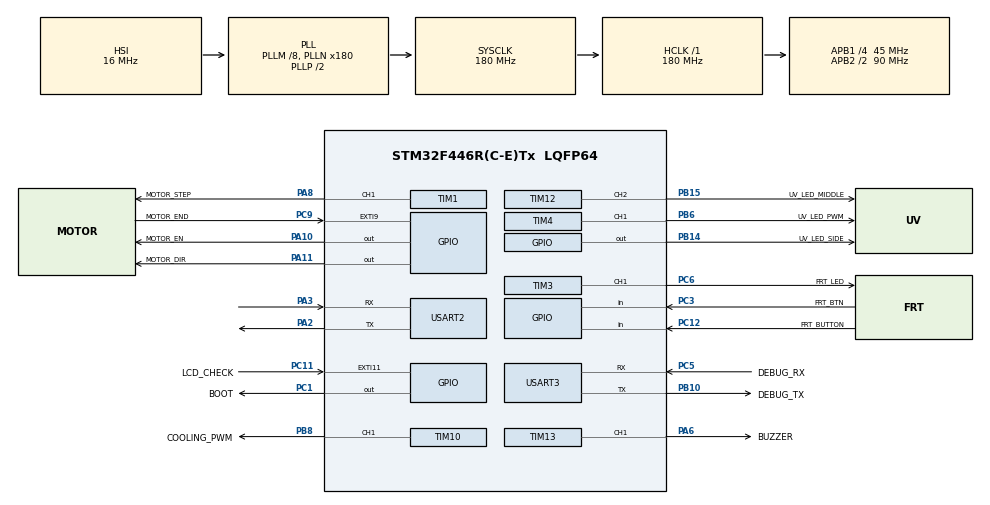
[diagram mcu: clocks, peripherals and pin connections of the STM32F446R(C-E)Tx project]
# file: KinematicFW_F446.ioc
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Dma.Request0=USART2_RX
Dma.Request1=TIM3_CH1/TRIG
Dma.TIM3_CH1/TRIG.1.Direction=DMA_MEMORY_TO_PERIPH
Dma.TIM3_CH1/TRIG.1.FIFOMode=DMA_FIFOMODE_DISABLE
Dma.TIM3_CH1/TRIG.1.Instance=DMA1_Stream4
Dma.TIM3_CH1/TRIG.1.MemDataAlignment=DMA_MDATAALIGN_WORD
Dma.TIM3_CH1/TRIG.1.MemInc=DMA_MINC_ENABLE
Dma.TIM3_CH1/TRIG.1.Mode=DMA_NORMAL
Dma.TIM3_CH1/TRIG.1.PeriphDataAlignment=DMA_PDATAALIGN_WORD
Dma.TIM3_CH1/TRIG.1.PeriphInc=DMA_PINC_DISABLE
Dma.TIM3_CH1/TRIG.1.Priority=DMA_PRIORITY_LOW
Dma.USART2_RX.0.Direction=DMA_PERIPH_TO_MEMORY
Dma.USART2_RX.0.FIFOMode=DMA_FIFOMODE_DISABLE
Dma.USART2_RX.0.Instance=DMA1_Stream5
Dma.USART2_RX.0.MemDataAlignment=DMA_MDATAALIGN_BYTE
Dma.USART2_RX.0.MemInc=DMA_MINC_ENABLE
Dma.USART2_RX.0.Mode=DMA_CIRCULAR
Dma.USART2_RX.0.PeriphDataAlignment=DMA_PDATAALIGN_BYTE
Dma.USART2_RX.0.PeriphInc=DMA_PINC_DISABLE
Dma.USART2_RX.0.Priority=DMA_PRIORITY_LOW
Mcu.Family=STM32F4
Mcu.Name=STM32F446R(C-E)Tx
Mcu.Package=LQFP64
NVIC.DMA1_Stream4_IRQn=true\:0\:0\:false\:false\:true\:false\:true
NVIC.DMA1_Stream5_IRQn=true\:0\:0\:false\:false\:true\:false\:true
NVIC.EXTI15_10_IRQn=true\:0\:0\:false\:false\:true\:true\:true
NVIC.EXTI9_5_IRQn=true\:0\:0\:false\:false\:true\:true\:true
NVIC.PriorityGroup=NVIC_PRIORITYGROUP_0
NVIC.TIM1_BRK_TIM9_IRQn=true\:0\:0\:false\:false\:true\:true\:true
NVIC.TIM1_CC_IRQn=true\:0\:0\:false\:false\:true\:true\:true
NVIC.TIM1_TRG_COM_TIM11_IRQn=true\:0\:0\:false\:false\:true\:true\:true
NVIC.TIM1_UP_TIM10_IRQn=true\:0\:0\:false\:false\:true\:true\:true
NVIC.TIM3_IRQn=true\:0\:0\:false\:false\:true\:true\:true
NVIC.TIM4_IRQn=true\:0\:0\:false\:false\:true\:true\:true
NVIC.TIM6_DAC_IRQn=true\:0\:0\:false\:false\:true\:true\:true
NVIC.TIM7_IRQn=true\:0\:0\:false\:false\:true\:true\:true
NVIC.TIM8_BRK_TIM12_IRQn=true\:0\:0\:false\:false\:true\:true\:true
NVIC.TIM8_TRG_COM_TIM14_IRQn=true\:0\:0\:false\:false\:true\:true\:true
NVIC.TIM8_UP_TIM13_IRQn=true\:0\:0\:false\:false\:true\:true\:true
NVIC.USART2_IRQn=true\:0\:0\:false\:false\:true\:true\:true
NVIC.USART3_IRQn=true\:0\:0\:false\:false\:true\:true\:true
PA10.GPIO_Label=MOTOR_EN
PA10.GPIO_ModeDefaultOutputPP=GPIO_MODE_OUTPUT_PP
PA10.GPIO_PuPd=GPIO_NOPULL
PA10.GPIO_Speed=GPIO_SPEED_FREQ_LOW
PA10.PinState=GPIO_PIN_RESET
PA10.Signal=GPIO_Output
PA11.GPIO_Label=MOTOR_DIR
PA11.GPIO_ModeDefaultOutputPP=GPIO_MODE_OUTPUT_PP
PA11.GPIO_PuPd=GPIO_NOPULL
PA11.GPIO_Speed=GPIO_SPEED_FREQ_LOW
PA11.PinState=GPIO_PIN_RESET
PA11.Signal=GPIO_Output
PA13.Mode=Serial_Wire
PA13.Signal=SYS_JTMS-SWDIO
PA14.Mode=Serial_Wire
PA14.Signal=SYS_JTCK-SWCLK
PA2.GPIO_Mode=GPIO_MODE_AF_PP
PA2.GPIO_PuPd=GPIO_PULLUP
PA2.GPIO_Speed=GPIO_SPEED_FREQ_VERY_HIGH
PA2.Mode=Asynchronous
PA2.Signal=USART2_TX
PA3.GPIO_Mode=GPIO_MODE_AF_PP
PA3.GPIO_PuPd=GPIO_PULLUP
PA3.GPIO_Speed=GPIO_SPEED_FREQ_VERY_HIGH
PA3.Mode=Asynchronous
PA3.Signal=USART2_RX
PA6.GPIO_Label=BUZZER
PA6.GPIO_ModeDefaultPP=GPIO_MODE_AF_PP
PA6.GPIO_PuPd=GPIO_NOPULL
PA6.GPIO_Speed=GPIO_SPEED_FREQ_LOW
PA6.Signal=S_TIM13_CH1
PA8.GPIO_Label=MOTOR_STEP
PA8.GPIO_ModeDefaultPP=GPIO_MODE_AF_PP
PA8.GPIO_PuPd=GPIO_NOPULL
PA8.GPIO_Speed=GPIO_SPEED_FREQ_LOW
PA8.Signal=S_TIM1_CH1
PB10.GPIO_Label=DEBUG_TX
PB10.GPIO_Mode=GPIO_MODE_AF_PP
PB10.GPIO_PuPd=GPIO_PULLUP
PB10.GPIO_Speed=GPIO_SPEED_FREQ_VERY_HIGH
PB10.Mode=Asynchronous
PB10.Signal=USART3_TX
PB14.GPIO_Label=UV_LED_SIDE
PB14.GPIO_ModeDefaultOutputPP=GPIO_MODE_OUTPUT_PP
PB14.GPIO_PuPd=GPIO_NOPULL
PB14.GPIO_Speed=GPIO_SPEED_FREQ_LOW
PB14.PinState=GPIO_PIN_RESET
PB14.Signal=GPIO_Output
PB15.GPIO_Label=UV_LED_MIDDLE
PB15.Signal=S_TIM12_CH2
PB3.Signal=SYS_JTDO-SWO
PB6.GPIO_Label=UV_LED_PWM
PB6.GPIO_ModeDefaultPP=GPIO_MODE_AF_PP
PB6.GPIO_PuPd=GPIO_NOPULL
PB6.GPIO_Speed=GPIO_SPEED_FREQ_LOW
PB6.Signal=S_TIM4_CH1
PB8.GPIO_Label=COOLING_PWM
PB8.GPIO_ModeDefaultPP=GPIO_MODE_AF_PP
PB8.GPIO_PuPd=GPIO_NOPULL
PB8.GPIO_Speed=GPIO_SPEED_FREQ_LOW
PB8.Signal=S_TIM10_CH1
PC1.GPIO_Label=BOOT
PC1.GPIO_ModeDefaultOutputPP=GPIO_MODE_OUTPUT_PP
PC1.GPIO_PuPd=GPIO_NOPULL
PC1.GPIO_Speed=GPIO_SPEED_FREQ_LOW
PC1.PinState=GPIO_PIN_RESET
PC1.Signal=GPIO_Output
PC11.GPIO_Label=LCD_CHECK
PC11.GPIO_ModeDefaultEXTI=GPIO_MODE_IT_RISING_FALLING
PC11.Signal=GPXTI11
PC12.GPIO_Label=FRT_BUTTON
PC12.GPIO_PuPd=GPIO_NOPULL
PC12.Signal=GPIO_Input
PC14-OSC32_IN.Mode=LSE-External-Oscillator
PC14-OSC32_IN.Signal=RCC_OSC32_IN
PC15-OSC32_OUT.Mode=LSE-External-Oscillator
PC15-OSC32_OUT.Signal=RCC_OSC32_OUT
PC3.GPIO_Label=FRT_BTN
PC3.GPIO_Mode=GPIO_MODE_INPUT
PC3.GPIO_PuPd=GPIO_NOPULL
PC3.Signal=GPIO_Input
PC5.GPIO_Label=DEBUG_RX
PC5.GPIO_Mode=GPIO_MODE_AF_PP
PC5.GPIO_PuPd=GPIO_PULLUP
PC5.GPIO_Speed=GPIO_SPEED_FREQ_VERY_HIGH
PC5.Mode=Asynchronous
PC5.Signal=USART3_RX
PC6.GPIO_Label=FRT_LED
PC6.GPIO_ModeDefaultPP=GPIO_MODE_AF_PP
PC6.GPIO_PuPd=GPIO_NOPULL
PC6.GPIO_Speed=GPIO_SPEED_FREQ_LOW
PC6.Signal=S_TIM3_CH1
PC9.GPIO_Label=MOTOR_END
PC9.GPIO_ModeDefaultEXTI=GPIO_MODE_IT_FALLING
PC9.GPIO_PuPd=GPIO_NOPULL
PC9.Signal=GPXTI9
PH0-OSC_IN.Mode=HSE-External-Oscillator
PH0-OSC_IN.Signal=RCC_OSC_IN
PH1-OSC_OUT.Mode=HSE-External-Oscillator
PH1-OSC_OUT.Signal=RCC_OSC_OUT
ProjectManager.HeapSize=0x200
ProjectManager.StackSize=0x400
ProjectManager.TargetToolchain=TrueSTUDIO
RCC.48MHZClocksFreq_Value=84000000
RCC.AHBFreq_Value=180000000
RCC.APB1CLKDivider=RCC_HCLK_DIV4
RCC.APB1Freq_Value=45000000
RCC.APB1TimFreq_Value=90000000
RCC.APB2CLKDivider=RCC_HCLK_DIV2
RCC.APB2Freq_Value=90000000
RCC.APB2TimFreq_Value=180000000
RCC.CortexFreq_Value=180000000
RCC.FLatency-AdvancedSettings=FLASH_LATENCY_5
RCC.HCLKFreq_Value=180000000
RCC.HSE_VALUE=8000000
RCC.HSI_VALUE=16000000
RCC.PLLM=8
RCC.PLLN=180
RCC.SYSCLKFreq_VALUE=180000000
RCC.SYSCLKSource=RCC_SYSCLKSOURCE_PLLCLK
RCC.USBFreq_Value=180000000
RCC.VCOOutputFreq_Value=360000000
SH.S_TIM10_CH1.0=TIM10_CH1,PWM Generation1 CH1
SH.S_TIM12_CH2.0=TIM12_CH2,PWM Generation2 CH2
SH.S_TIM13_CH1.0=TIM13_CH1,PWM Generation1 CH1
SH.S_TIM1_CH1.0=TIM1_CH1,PWM Generation1 CH1
SH.S_TIM3_CH1.0=TIM3_CH1,PWM Generation1 CH1
SH.S_TIM4_CH1.0=TIM4_CH1,PWM Generation1 CH1
TIM1.Channel-PWM\ Generation1\ CH1=TIM_CHANNEL_1
TIM1.Prescaler=1023
TIM10.Channel=TIM_CHANNEL_1
TIM10.Period=1000
TIM10.Prescaler=45
TIM10.Pulse=1000
TIM11.Period=90-1
TIM11.Prescaler=10000-1
TIM12.Channel-PWM\ Generation2\ CH2=TIM_CHANNEL_2
TIM12.Period=1000 - 1
TIM12.Prescaler=45 - 1
TIM12.Pulse-PWM\ Generation2\ CH2=0
TIM13.Channel=TIM_CHANNEL_1
TIM13.Period=10
TIM13.Prescaler=900 - 1
TIM13.Pulse=5
TIM14.Period=1000
TIM14.Prescaler=9000
TIM3.Channel-PWM\ Generation1\ CH1=TIM_CHANNEL_1
TIM3.Period=112
TIM3.Prescaler=0
TIM3.Pulse-PWM\ Generation1\ CH1=0
TIM4.Channel-PWM\ Generation1\ CH1=TIM_CHANNEL_1
TIM4.Period=100
TIM4.Prescaler=18000
TIM6.Period=360-1
TIM6.Prescaler=10000 - 1
TIM7.Period=15 - 1
TIM7.Prescaler=6000 - 1
USART2.VirtualMode=VM_ASYNC
USART3.VirtualMode=VM_ASYNC
VP_TIM10_VS_ClockSourceINT.Mode=Enable_Timer
VP_TIM11_VS_ClockSourceINT.Mode=Enable_Timer
VP_TIM13_VS_ClockSourceINT.Mode=Enable_Timer
VP_TIM14_VS_ClockSourceINT.Mode=Enable_Timer
VP_TIM3_VS_ClockSourceINT.Mode=Internal
VP_TIM6_VS_ClockSourceINT.Mode=Enable_Timer
VP_TIM7_VS_ClockSourceINT.Mode=Enable_Timer
board=NUCLEO-F446RE

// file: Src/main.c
/* USER CODE BEGIN Header */
/**
  ******************************************************************************
  * @file           : main.c
  * @brief          : Main program body
  ******************************************************************************
  ** This notice applies to any and all portions of this file
  * that are not between comment pairs USER CODE BEGIN and
  * USER CODE END. Other portions of this file, whether
  * inserted by the user or by software development tools
  * are owned by their respective copyright owners.
  *
  * COPYRIGHT(c) 2019 STMicroelectronics
  *
  * Redistribution and use in source and binary forms, with or without modification,
  * are permitted provided that the following conditions are met:
  *   1. Redistributions of source code must retain the above copyright notice,
  *      this list of conditions and the following disclaimer.
  *   2. Redistributions in binary form must reproduce the above copyright notice,
  *      this list of conditions and the following disclaimer in the documentation
  *      and/or other materials provided with the distribution.
  *   3. Neither the name of STMicroelectronics nor the names of its contributors
  *      may be used to endorse or promote products derived from this software
  *      without specific prior written permission.
  *
  * THIS SOFTWARE IS PROVIDED BY THE COPYRIGHT HOLDERS AND CONTRIBUTORS "AS IS"
  * AND ANY EXPRESS OR IMPLIED WARRANTIES, INCLUDING, BUT NOT LIMITED TO, THE
  * IMPLIED WARRANTIES OF MERCHANTABILITY AND FITNESS FOR A PARTICULAR PURPOSE ARE
  * DISCLAIMED. IN NO EVENT SHALL THE COPYRIGHT HOLDER OR CONTRIBUTORS BE LIABLE
  * FOR ANY DIRECT, INDIRECT, INCIDENTAL, SPECIAL, EXEMPLARY, OR CONSEQUENTIAL
  * DAMAGES (INCLUDING, BUT NOT LIMITED TO, PROCUREMENT OF SUBSTITUTE GOODS OR
  * SERVICES; LOSS OF USE, DATA, OR PROFITS; OR BUSINESS INTERRUPTION) HOWEVER
  * CAUSED AND ON ANY THEORY OF LIABILITY, WHETHER IN CONTRACT, STRICT LIABILITY,
  * OR TORT (INCLUDING NEGLIGENCE OR OTHERWISE) ARISING IN ANY WAY OUT OF THE USE
  * OF THIS SOFTWARE, EVEN IF ADVISED OF THE POSSIBILITY OF SUCH DAMAGE.
  *
  ******************************************************************************
  */

/* USER CODE END Header */

#include "main.h"
#include "dma.h"
#include "tim.h"
#include "usart.h"
#include "gpio.h"
/* USER CODE BEGIN Includes */
#include "HGCodeFunction.h"
#include "PrinterStateControl.h"
#include "usart.h"
#include "common.h"
#include "flash_if.h"
#include "stm32f4xx_hal_flash_ex.h"
/* USER CODE END Includes */

/* USER CODE BEGIN PV */
extern DMA_HandleTypeDef hdma_usart2_rx;
/* USER CODE END PV */

void SystemClock_Config(void);

int main(void)
{
  /* USER CODE BEGIN 1 */
	uint8_t buff[100] = {0};
	HGCodeDataControl_t* temp = 0;
	uint32_t commandCount = 0;
  /* USER CODE END 1 */

  /* MCU Configuration--------------------------------------------------------*/

  /* Reset of all peripherals, Initializes the Flash interface and the Systick. */
  HAL_Init();

  /* Configure the system clock */
  SystemClock_Config();

  /* Initialize all configured peripherals */
  MX_GPIO_Init();
  MX_DMA_Init();
  MX_USART2_UART_Init();
  MX_TIM1_Init();
  MX_TIM3_Init();
  MX_USART3_UART_Init();
  MX_TIM13_Init();
  MX_TIM6_Init();
  MX_TIM11_Init();
  MX_TIM7_Init();
  MX_TIM14_Init();
  MX_TIM4_Init();
  MX_TIM10_Init();
  MX_TIM12_Init();
  /* USER CODE BEGIN 2 */
  HAL_UART_Transmit(&huart3,(uint8_t*)"boot board\r\n",12,1000);

//  HAL_UART_Transmit_IT(&huart2,(uint8_t*)"boot board\r\n",12);

  HAL_TIM_Base_Start_IT(&htim11); //touch timer
  HAL_TIM_Base_Start_IT(&htim14); //endStop Debouncing

  HAL_TIM_PWM_Stop_IT(&htim12,TIM_CHANNEL_2);

//  HAL_TIM_PWM_Start(&htim12,TIM_CHANNEL_2);

  STMotorInitHandler(&STMotorDevices[0],&htim1,(HAL_TIM_ActiveChannel)TIM_CHANNEL_1,EXTI9_5_IRQn);
  STMotorInitParam(&STMotorDevices[0],STMotorCalcMicroToStep(60000 / 60),STMotorCalcMicroToStep(45000 / 60),STMotorCalcMicroToStep(600000 / 60),1);

  startHGCode(&htim6,&huart2,&hdma_usart2_rx);

  HAL_TIM_Base_Start_IT(&htim7); //blank timer

//  powerOn();
  uint32_t reboot_flag = *(uint32_t*) REBOOT_CHECK_ADDRESS;
  uint32_t reboot_flag_addr = REBOOT_CHECK_ADDRESS;

  if(!reboot_flag){
	  powerOff();
  }else{
	  reboot_flag = FALSE;
	  powerOn();
//	  FLASH_Erase_Sector(FLASH_SECTOR_5,FLASH_VOLTAGE_RANGE_3);
//	  FLASH_WaitForLastOperation(1000);
//	  uint32_t err = HAL_FLASH_GetError();
//	  if (err != 0) {
//		  HAL_FLASH_Lock();
//		  return (err);
//	  }
	  FLASH_If_Write((uint32_t*)&reboot_flag_addr,(uint32_t*)&reboot_flag,1);
  }
  /* USER CODE END 2 */

  /* Infinite loop */
  /* USER CODE BEGIN WHILE */
  while (1)
  {
	  if(HGCodeCheckDataBuffer()){
			temp = HGCodeGetCommandData();
			if(!temp)
				continue;

			sprintf((char*)buff,"Count: %4d, G: %4d, H: %4d, A: %d, B: %d, C: %d M: %d\r\n",
								commandCount++,temp->HGCodeCommand.G,temp->HGCodeCommand.H,
								temp->HGCodeParameter.A,temp->HGCodeParameter.B,temp->HGCodeParameter.C,temp->HGCodeParameter.M);
			HAL_UART_Transmit_IT(&huart3,buff,strlen((char*)buff));

			if(temp->HGCodeCommand.G != 0){
				switch(temp->HGCodeCommand.G){
				case 01:
					G01(temp);
					break;
				case 02:
					G02(temp);
					break;
				case 03:
					G03(temp);
					break;
				case 27:
					G27(temp);
					break;
				case 28:
					G28(temp);
					break;
				default:
					break;
				}
			}else if(temp->HGCodeCommand.H != 0){
				switch(temp->HGCodeCommand.H){
				case 10:
					H10(temp);
					break;
				case 11:
					H11(temp);
					break;
				case 12:
					H12(temp);
					break;
				case 20:
					H20(temp);
					break;
				case 21:
					H21(temp);
					break;
				case 30:
					H30(temp);
					break;
				case 31:
					H31(temp);
					break;
				case 32:
					H32(temp);
					break;
				case 33:
					H33(temp);
					break;
				case 34:
					H34(temp);
					break;
				case 40:
					H40(temp);
					break;
				case 41:
					H41(temp);
					break;
				case 42:
					H42(temp);
					break;
				case 43:
					H43(temp);
					break;
//				case 50:
//					H50(temp,neoPixel_P);
//					break;
//				case 51:
//					H51(temp,neoPixel_P);
//					break;
				case 90:
					H90(temp);
					break;
				case 91:
					H91(temp);
					break;
				case 101:
					H101(temp);
					break;
				case 111:
					H111(temp);
					break;
				case 200:
					H200(temp);
					break;
				case 201:
					H201(temp);
					break;
				case 60:
					H60(temp);
					break;
				default:
					break;
				}
			}
			memset(temp,0x00,sizeof(HGCodeDataControl_t));
		}
    /* USER CODE END WHILE */

    /* USER CODE BEGIN 3 */
  }
//  Main_Menu();
  /* USER CODE END 3 */
}

void SystemClock_Config(void)
{
  RCC_OscInitTypeDef RCC_OscInitStruct = {0};
  RCC_ClkInitTypeDef RCC_ClkInitStruct = {0};

  /** Configure the main internal regulator output voltage
  */
  __HAL_RCC_PWR_CLK_ENABLE();
  __HAL_PWR_VOLTAGESCALING_CONFIG(PWR_REGULATOR_VOLTAGE_SCALE1);
  /** Initializes the CPU, AHB and APB busses clocks
  */
  RCC_OscInitStruct.OscillatorType = RCC_OSCILLATORTYPE_HSI;
  RCC_OscInitStruct.HSIState = RCC_HSI_ON;
  RCC_OscInitStruct.HSICalibrationValue = RCC_HSICALIBRATION_DEFAULT;
  RCC_OscInitStruct.PLL.PLLState = RCC_PLL_ON;
  RCC_OscInitStruct.PLL.PLLSource = RCC_PLLSOURCE_HSI;
  RCC_OscInitStruct.PLL.PLLM = 8;
  RCC_OscInitStruct.PLL.PLLN = 180;
  RCC_OscInitStruct.PLL.PLLP = RCC_PLLP_DIV2;
  RCC_OscInitStruct.PLL.PLLQ = 2;
  RCC_OscInitStruct.PLL.PLLR = 2;
  if (HAL_RCC_OscConfig(&RCC_OscInitStruct) != HAL_OK)
  {
    Error_Handler();
  }
  /** Activate the Over-Drive mode
  */
  if (HAL_PWREx_EnableOverDrive() != HAL_OK)
  {
    Error_Handler();
  }
  /** Initializes the CPU, AHB and APB busses clocks
  */
  RCC_ClkInitStruct.ClockType = RCC_CLOCKTYPE_HCLK|RCC_CLOCKTYPE_SYSCLK
                              |RCC_CLOCKTYPE_PCLK1|RCC_CLOCKTYPE_PCLK2;
  RCC_ClkInitStruct.SYSCLKSource = RCC_SYSCLKSOURCE_PLLCLK;
  RCC_ClkInitStruct.AHBCLKDivider = RCC_SYSCLK_DIV1;
  RCC_ClkInitStruct.APB1CLKDivider = RCC_HCLK_DIV4;
  RCC_ClkInitStruct.APB2CLKDivider = RCC_HCLK_DIV2;

  if (HAL_RCC_ClockConfig(&RCC_ClkInitStruct, FLASH_LATENCY_5) != HAL_OK)
  {
    Error_Handler();
  }
}

void Error_Handler(void)
{
}

/************************ (C) COPYRIGHT STMicroelectronics *****END OF FILE****/
